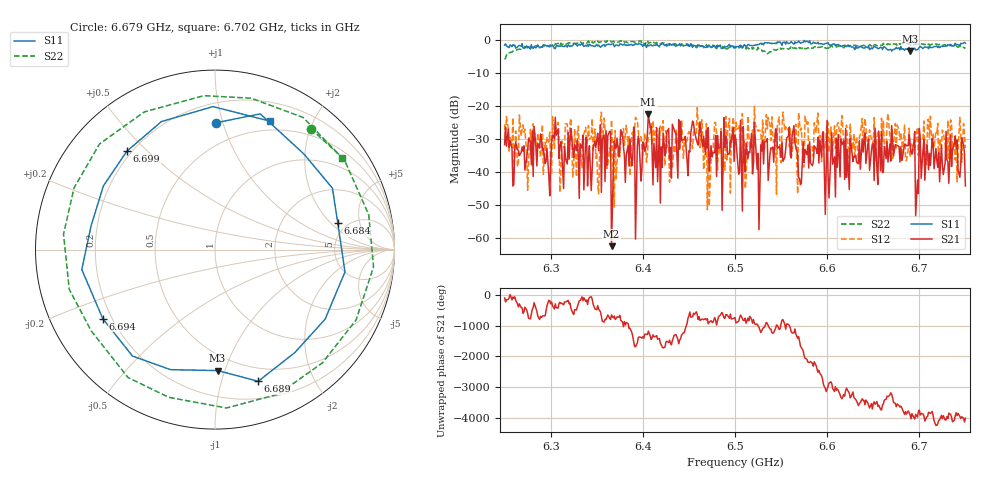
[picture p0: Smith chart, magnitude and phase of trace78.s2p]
# Hz S RI R 50
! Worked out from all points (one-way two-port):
!   401 points, 6.25 GHz to 6.75 GHz, reference 50 ohm
!   highest |S21| = -22.55 dB at 6.406 GHz (marker M1); lowest = -62.4 dB at 6.366 GHz (marker M2)
!   lowest |S11| = -3.4 dB at 6.69 GHz (marker M3), VSWR 5.14, Z = 19.1 - j47.3 ohm
!   |S11| at or under -10 dB: nowhere
!   |S22| runs from -5.9 to -0.2 dB; largest |S21 - S12| = 0.14
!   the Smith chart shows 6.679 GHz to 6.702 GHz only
!   S11 on the Smith chart (normalised r, x): 6.679 GHz: 0.34, +0.95; 6.684 GHz: 4.21, +2.42; 6.689 GHz: 0.36, -1.32; 6.694 GHz: 0.17, -0.28; 6.699 GHz: 0.18, +0.43; 6.702 GHz: 0.40, +1.44
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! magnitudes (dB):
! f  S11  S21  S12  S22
! 6.25 GHz  -1.6  -31.7  -25.5  -5.9
! 6.334 GHz  -1.1  -32.7  -38.6  -1.0
! 6.35 GHz  -1.3  -30.0  -34.0  -0.8
! 6.356 GHz  -1.7  -30.0  -32.7  -0.4
! 6.366 GHz  -1.3  -62.4  -24.2  -0.6
! 6.395 GHz  -1.3  -29.1  -27.3  -0.6
! 6.406 GHz  -1.8  -22.5  -28.8  -1.0
! 6.418 GHz  -2.1  -26.7  -29.9  -0.9
! 6.431 GHz  -1.6  -41.8  -38.2  -1.7
! 6.461 GHz  -1.5  -27.9  -26.5  -2.0
! 6.472 GHz  -1.7  -39.7  -50.2  -2.0
! 6.5 GHz  -2.0  -28.8  -30.6  -2.4
! 6.584 GHz  -1.1  -38.0  -32.4  -2.5
! 6.668 GHz  -2.9  -31.5  -29.2  -1.4
! 6.679 GHz  -3.0  -36.9  -30.2  -1.3
! 6.684 GHz  -3.1  -31.5  -25.8  -1.1
! 6.689 GHz  -2.2  -28.6  -26.7  -1.3
! 6.69 GHz  -3.4  -31.2  -35.3  -1.3
! 6.694 GHz  -2.7  -31.1  -33.6  -1.4
! 6.699 GHz  -2.7  -46.5  -35.0  -1.3
! 6.702 GHz  -2.2  -41.9  -29.7  -1.2
! 6.75 GHz  -1.0  -44.2  -32.7  -2.3
